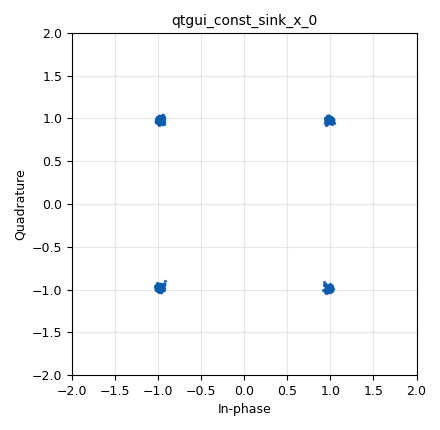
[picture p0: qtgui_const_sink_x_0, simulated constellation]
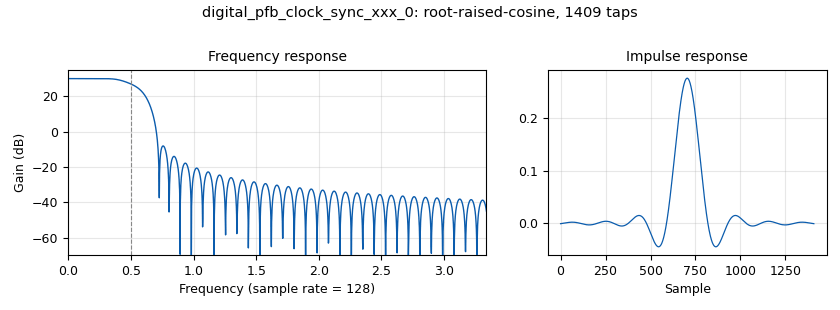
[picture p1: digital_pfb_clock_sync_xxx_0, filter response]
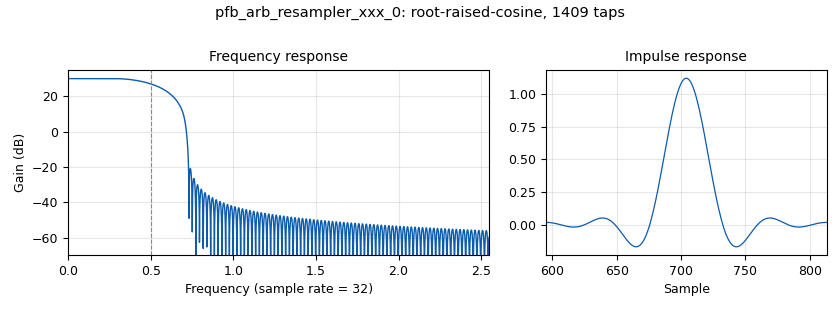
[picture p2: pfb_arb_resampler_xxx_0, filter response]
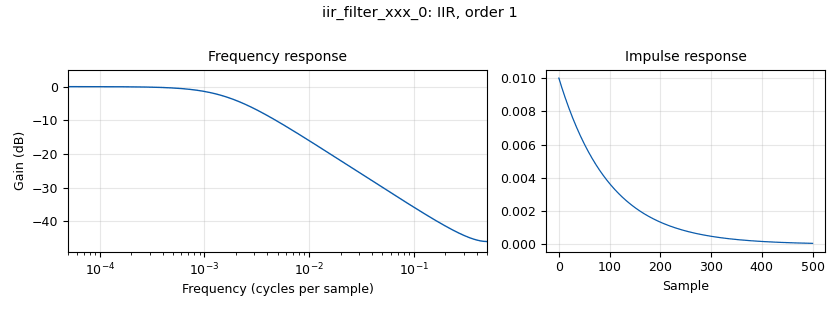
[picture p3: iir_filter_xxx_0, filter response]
options:
  parameters:
    author: Prasann
    generate_options: qt_gui
    id: lab8_task1
    output_language: python
    title: Lab 8 Tasks
  states: {}

blocks:
- name: const_points
  id: variable
  parameters:
    value: '4'
  states: {}
- name: excess_bw
  id: variable
  parameters:
    value: '0.45'
  states: {}
- name: nfilts
  id: variable
  parameters:
    value: '32'
  states: {}
- name: ntaps
  id: variable
  parameters:
    value: 11*nfilts*sps
  states: {}
- name: rx_taps
  id: variable
  parameters:
    value: firdes.root_raised_cosine(nfilts,nfilts*sps,1.0,0.4,ntaps)
  states: {}
- name: samp_rate
  id: variable
  parameters:
    value: '320000'
  states: {}
- name: sps
  id: variable
  parameters:
    value: '4'
  states: {}
- name: timing_bw
  id: variable
  parameters:
    value: 2*pi/100
  states: {}
- name: tx_taps
  id: variable
  parameters:
    value: firdes.root_raised_cosine(nfilts,nfilts,1.0,excess_bw,ntaps)
  states: {}
- name: analog_random_source_x_0
  id: analog_random_source_x
  parameters:
    max: '4'
    min: '0'
    num_samps: '1000'
    repeat: 'True'
    type: byte
  states: {}
- name: analog_sig_source_x_0
  id: analog_sig_source_x
  parameters:
    amp: '1'
    freq: '0.1'
    offset: '0'
    phase: '0'
    samp_rate: samp_rate
    type: complex
    waveform: analog.GR_COS_WAVE
  states: {}
- name: blocks_add_const_vxx_0
  id: blocks_add_const_vxx
  parameters:
    const: '-0.5'
    type: float
  states: {}
- name: blocks_add_const_vxx_0_0
  id: blocks_add_const_vxx
  parameters:
    const: '-0.5'
    type: float
  states: {}
- name: blocks_complex_to_imag_0
  id: blocks_complex_to_imag
  parameters: {}
  states: {}
- name: blocks_complex_to_real_0
  id: blocks_complex_to_real
  parameters: {}
  states: {}
- name: blocks_delay_0
  id: blocks_delay
  parameters:
    delay: '10'
    type: float
  states: {}
- name: blocks_multiply_const_vxx_0
  id: blocks_multiply_const_vxx
  parameters:
    const: '0.2'
    type: float
  states: {}
- name: blocks_multiply_xx_0
  id: blocks_multiply_xx
  parameters:
    type: complex
  states: {}
- name: blocks_multiply_xx_1
  id: blocks_multiply_xx
  parameters:
    type: float
  states: {}
- name: blocks_multiply_xx_1_0
  id: blocks_multiply_xx
  parameters:
    type: float
  states: {}
- name: blocks_multiply_xx_2
  id: blocks_multiply_xx
  parameters:
    type: complex
  states: {}
- name: blocks_sub_xx_0
  id: blocks_sub_xx
  parameters:
    type: float
  states: {}
- name: blocks_threshold_ff_0
  id: blocks_threshold_ff
  parameters:
    high: '0.001'
    init: '0'
    low: '-0.001'
  states: {}
- name: blocks_threshold_ff_0_0
  id: blocks_threshold_ff
  parameters:
    high: '0.001'
    init: '0'
    low: '-0.001'
  states: {}
- name: blocks_throttle_0
  id: blocks_throttle
  parameters:
    samples_per_second: samp_rate
    type: complex
  states: {}
- name: blocks_throttle_0_0
  id: blocks_throttle
  parameters:
    samples_per_second: samp_rate
    type: complex
  states: {}
- name: blocks_throttle_1
  id: blocks_throttle
  parameters:
    samples_per_second: samp_rate
    type: float
  states: {}
- name: blocks_throttle_1_0
  id: blocks_throttle
  parameters:
    samples_per_second: samp_rate
    type: float
  states: {}
- name: blocks_udp_sink_0
  id: blocks_udp_sink
  parameters:
    eof: 'True'
    ipaddr: 127.0.0.1
    port: '12345'
    psize: '1472'
    type: float
    vlen: '1'
  states: {}
- name: blocks_udp_source_0
  id: blocks_udp_source
  parameters:
    eof: 'True'
    ipaddr: 127.0.0.1
    port: '12345'
    psize: '1472'
    type: float
    vlen: '1'
  states: {}
- name: blocks_vco_c_0
  id: blocks_vco_c
  parameters:
    amplitude: '1'
    samp_rate: samp_rate
    sensitivity: '-5'
  states: {}
- name: digital_chunks_to_symbols_xx_0
  id: digital_chunks_to_symbols_xx
  parameters:
    dimension: '1'
    in_type: byte
    out_type: complex
    symbol_table: ((1-1j),(1+1j),(-1+1j),(-1-1j))
  states: {}
- name: digital_pfb_clock_sync_xxx_0
  id: digital_pfb_clock_sync_xxx
  parameters:
    filter_size: '32'
    init_phase: '16'
    loop_bw: timing_bw
    max_dev: '1.5'
    osps: '1'
    sps: '4'
    taps: rx_taps
    type: ccf
  states: {}
- name: digital_pfb_clock_sync_xxx_0_0
  id: digital_pfb_clock_sync_xxx
  parameters:
    filter_size: '32'
    init_phase: '16'
    loop_bw: timing_bw
    max_dev: '1.5'
    osps: '1'
    sps: '4'
    taps: rx_taps
    type: ccf
  states: {}
- name: iir_filter_xxx_0
  id: iir_filter_xxx
  parameters:
    fbtaps: '[-1,0.99]'
    fftaps: '0.01'
    type: ffd
  states: {}
- name: iir_filter_xxx_0_0
  id: iir_filter_xxx
  parameters:
    fbtaps: '[-1,1]'
    fftaps: '[1.0001, -1]'
    type: ffd
  states: {}
- name: import_0
  id: import
  parameters:
    imports: from math import pi as pi
  states: {}
- name: import_1
  id: import
  parameters:
    imports: from gnuradio import digital
  states: {}
- name: import_2
  id: import
  parameters:
    imports: from gnuradio.filter import firdes
  states: {}
- name: pfb_arb_resampler_xxx_0
  id: pfb_arb_resampler_xxx
  parameters:
    atten: '100'
    nfilts: '32'
    rrate: sps
    taps: tx_taps
    type: ccf
  states: {}
- name: qtgui_const_sink_x_0
  id: qtgui_const_sink_x
  parameters:
    gui_hint: tab@0
    size: '1024'
    type: complex
  states: {}
- name: qtgui_const_sink_x_0_0
  id: qtgui_const_sink_x
  parameters:
    gui_hint: tab@3
    size: '1024'
    type: complex
  states: {}
- name: qtgui_time_sink_x_0
  id: qtgui_time_sink_x
  parameters:
    gui_hint: tab@1
    size: '2000'
    srate: samp_rate
    type: float
  states: {}
- name: qtgui_time_sink_x_1
  id: qtgui_time_sink_x
  parameters:
    gui_hint: tab@2
    size: '1024'
    srate: samp_rate
    type: float
  states: {}
- name: tab
  id: qtgui_tab_widget
  parameters:
    label0: QPSK Signal with Frequency Offset
    label1: QPSK Carrier Phase Detector
    label2: UDP Source Output
    label3: Output of Costas Loop
    num_tabs: '4'
  states: {}

connections:
- [analog_random_source_x_0, '0', digital_chunks_to_symbols_xx_0, '0']
- [analog_sig_source_x_0, '0', blocks_multiply_xx_0, '1']
- [blocks_add_const_vxx_0, '0', blocks_multiply_xx_1_0, '0']
- [blocks_add_const_vxx_0_0, '0', blocks_multiply_xx_1, '1']
- [blocks_complex_to_imag_0, '0', blocks_multiply_xx_1_0, '1']
- [blocks_complex_to_imag_0, '0', blocks_threshold_ff_0_0, '0']
- [blocks_complex_to_real_0, '0', blocks_multiply_xx_1, '0']
- [blocks_complex_to_real_0, '0', blocks_threshold_ff_0, '0']
- [blocks_delay_0, '0', blocks_multiply_const_vxx_0, '0']
- [blocks_multiply_const_vxx_0, '0', blocks_throttle_1_0, '0']
- [blocks_multiply_xx_0, '0', blocks_multiply_xx_2, '0']
- [blocks_multiply_xx_0, '0', digital_pfb_clock_sync_xxx_0, '0']
- [blocks_multiply_xx_1, '0', blocks_sub_xx_0, '0']
- [blocks_multiply_xx_1_0, '0', blocks_sub_xx_0, '1']
- [blocks_multiply_xx_2, '0', blocks_complex_to_imag_0, '0']
- [blocks_multiply_xx_2, '0', blocks_complex_to_real_0, '0']
- [blocks_multiply_xx_2, '0', digital_pfb_clock_sync_xxx_0_0, '0']
- [blocks_sub_xx_0, '0', iir_filter_xxx_0, '0']
- [blocks_threshold_ff_0, '0', blocks_add_const_vxx_0, '0']
- [blocks_threshold_ff_0_0, '0', blocks_add_const_vxx_0_0, '0']
- [blocks_throttle_0, '0', qtgui_const_sink_x_0, '0']
- [blocks_throttle_0_0, '0', qtgui_const_sink_x_0_0, '0']
- [blocks_throttle_1, '0', qtgui_time_sink_x_0, '0']
- [blocks_throttle_1_0, '0', iir_filter_xxx_0_0, '0']
- [blocks_throttle_1_0, '0', qtgui_time_sink_x_1, '0']
- [blocks_udp_source_0, '0', blocks_delay_0, '0']
- [blocks_vco_c_0, '0', blocks_multiply_xx_2, '1']
- [digital_chunks_to_symbols_xx_0, '0', pfb_arb_resampler_xxx_0, '0']
- [digital_pfb_clock_sync_xxx_0, '0', blocks_throttle_0, '0']
- [digital_pfb_clock_sync_xxx_0_0, '0', blocks_throttle_0_0, '0']
- [iir_filter_xxx_0, '0', blocks_throttle_1, '0']
- [iir_filter_xxx_0, '0', blocks_udp_sink_0, '0']
- [iir_filter_xxx_0_0, '0', blocks_vco_c_0, '0']
- [pfb_arb_resampler_xxx_0, '0', blocks_multiply_xx_0, '0']

metadata:
  file_format: 1
